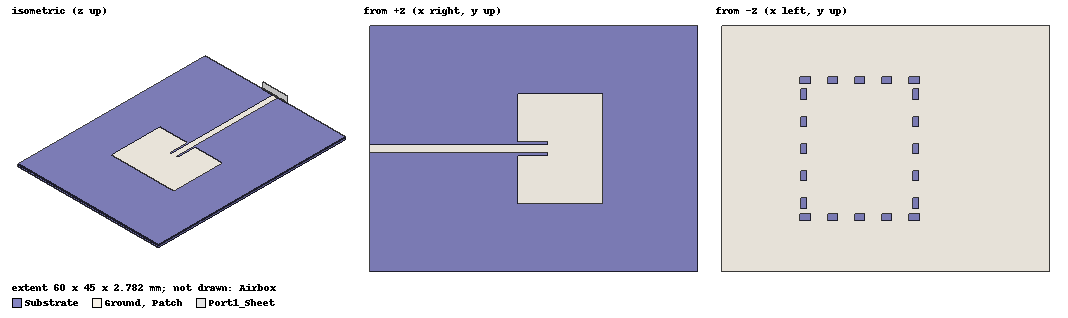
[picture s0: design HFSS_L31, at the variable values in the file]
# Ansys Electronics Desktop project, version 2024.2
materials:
  vacuum: permittivity=1
  RO4350B: permittivity=3.48 permeability=1 dielectric_loss_tangent=0.0037
  pec: conductivity=1e+30
  air: permittivity=1.0006 permeability=1.0000004

design HFSS_L31 (HFSS, HFSS Terminal Network, model units mm)
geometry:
  Substrate [RO4350B] = box(corner=(-30mm, -22.5mm, 0mm), size=(60mm, 45mm, 0.762mm))
  Ground [pec] = rectangle(corner=(-30mm, -22.5mm, 0mm), x_size=60mm, y_size=45mm)
  Patch [pec] = rectangle(corner=(-2.99995mm, -10.01535mm, 0.762mm), x_size=15.5383mm, y_size=20.0307mm)
  Feed = rectangle(corner=(-30mm, -0.7991mm, 0.762mm), x_size=32.58775mm, y_size=1.5982mm)
  Patch.unite(Feed)
  TopCut_0_inset_gap_top = rectangle(corner=(-2.99995mm, 0.7991mm, 0.762mm), x_size=5.5877mm, y_size=0.4795mm)
  TopCut_1_inset_gap_bottom = rectangle(corner=(-2.99995mm, -1.2786mm, 0.762mm), x_size=5.5877mm, y_size=0.4795mm)
  Patch.subtract(TopCut_0_inset_gap_top, TopCut_1_inset_gap_bottom)
  GroundCut_0_ebg_0 = rectangle(corner=(-6.1303051mm, -13.105425mm, 0mm), x_size=1.8808594mm, y_size=1.18015mm)
  GroundCut_1_ebg_1 = rectangle(corner=(-1.1507674mm, -13.105425mm, 0mm), x_size=1.8808594mm, y_size=1.18015mm)
  GroundCut_2_ebg_2 = rectangle(corner=(3.8287703mm, -13.105425mm, 0mm), x_size=1.8808594mm, y_size=1.18015mm)
  GroundCut_3_ebg_3 = rectangle(corner=(8.808308mm, -13.105425mm, 0mm), x_size=1.8808594mm, y_size=1.18015mm)
  GroundCut_4_ebg_4 = rectangle(corner=(13.787846mm, -13.105425mm, 0mm), x_size=1.8808594mm, y_size=1.18015mm)
  GroundCut_5_ebg_5 = rectangle(corner=(-6.1303051mm, 11.925275mm, 0mm), x_size=1.8808594mm, y_size=1.18015mm)
  GroundCut_6_ebg_6 = rectangle(corner=(-1.1507674mm, 11.925275mm, 0mm), x_size=1.8808594mm, y_size=1.18015mm)
  GroundCut_7_ebg_7 = rectangle(corner=(3.8287703mm, 11.925275mm, 0mm), x_size=1.8808594mm, y_size=1.18015mm)
  GroundCut_8_ebg_8 = rectangle(corner=(8.808308mm, 11.925275mm, 0mm), x_size=1.8808594mm, y_size=1.18015mm)
  GroundCut_9_ebg_9 = rectangle(corner=(13.787846mm, 11.925275mm, 0mm), x_size=1.8808594mm, y_size=1.18015mm)
  GroundCut_10_ebg_10 = rectangle(corner=(-6.090025mm, -10.899505mm, 0mm), x_size=1.18015mm, y_size=1.8808594mm)
  GroundCut_11_ebg_11 = rectangle(corner=(-6.090025mm, -5.9199674mm, 0mm), x_size=1.18015mm, y_size=1.8808594mm)
  GroundCut_12_ebg_12 = rectangle(corner=(-6.090025mm, -0.94042969mm, 0mm), x_size=1.18015mm, y_size=1.8808594mm)
  GroundCut_13_ebg_13 = rectangle(corner=(-6.090025mm, 4.039108mm, 0mm), x_size=1.18015mm, y_size=1.8808594mm)
  GroundCut_14_ebg_14 = rectangle(corner=(-6.090025mm, 9.0186458mm, 0mm), x_size=1.18015mm, y_size=1.8808594mm)
  GroundCut_15_ebg_15 = rectangle(corner=(14.448275mm, -10.899505mm, 0mm), x_size=1.18015mm, y_size=1.8808594mm)
  GroundCut_16_ebg_16 = rectangle(corner=(14.448275mm, -5.9199674mm, 0mm), x_size=1.18015mm, y_size=1.8808594mm)
  GroundCut_17_ebg_17 = rectangle(corner=(14.448275mm, -0.94042969mm, 0mm), x_size=1.18015mm, y_size=1.8808594mm)
  GroundCut_18_ebg_18 = rectangle(corner=(14.448275mm, 4.039108mm, 0mm), x_size=1.18015mm, y_size=1.8808594mm)
  GroundCut_19_ebg_19 = rectangle(corner=(14.448275mm, 9.0186458mm, 0mm), x_size=1.18015mm, y_size=1.8808594mm)
  Ground.subtract(GroundCut_0_ebg_0, GroundCut_1_ebg_1, GroundCut_2_ebg_2, GroundCut_3_ebg_3, GroundCut_4_ebg_4, GroundCut_5_ebg_5, GroundCut_6_ebg_6, GroundCut_7_ebg_7, GroundCut_8_ebg_8, GroundCut_9_ebg_9, GroundCut_10_ebg_10, GroundCut_11_ebg_11, GroundCut_12_ebg_12, GroundCut_13_ebg_13, GroundCut_14_ebg_14, GroundCut_15_ebg_15, GroundCut_16_ebg_16, GroundCut_17_ebg_17, GroundCut_18_ebg_18, GroundCut_19_ebg_19)
  Airbox [air] = box(corner=(-30mm, -42.5mm, -20mm), size=(80mm, 85mm, 40.762mm))
  Port1_Sheet = rectangle(corner=(-30mm, -3.9955mm, -0.02mm), y_size=7.991mm, z_size=2.782mm)
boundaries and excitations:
  Copper_PEC: Perfect E Objects=[Ground, Patch]
  Radiation: Radiation Objects=Airbox
  Port1: Wave Port Objects=Port1_Sheet WavePortType=Modal NumModes=1 Modes{Mode1{CharImp=Zpi RenormImp=50ohm}}
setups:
  Setup1: HfssDriven Frequency=5GHz MaxDeltaS=0.02 MaximumPasses=10 MinimumPasses=1 MinimumConvergedPasses=1 PercentRefinement=30 BasisOrder=1 PortAccuracy=2 DrivenSolverType="Direct Solver"
    sweep Sweep_4_6GHz: 4GHz to 6GHz, 101 points; Type=Interpolating SaveRadFields InterpTolerance=0.5 InterpMaxSolns=250 InterpUsePortImped=false PassivityErrorTolerance=0.0001
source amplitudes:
  Port1:1: 1V 0deg
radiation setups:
  InfiniteSphere_EH_Cuts: Infinite Sphere Theta=-180deg..180deg step 1deg Phi=-90deg..90deg step 90deg
